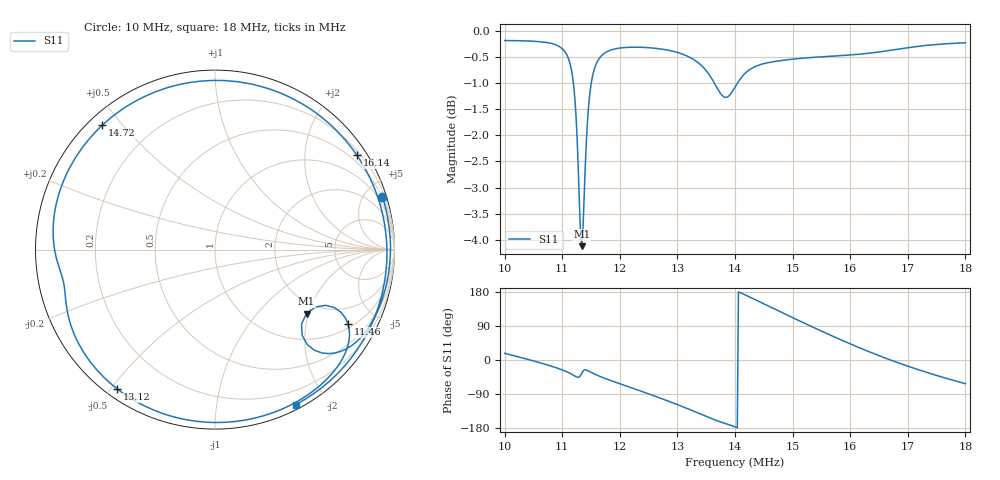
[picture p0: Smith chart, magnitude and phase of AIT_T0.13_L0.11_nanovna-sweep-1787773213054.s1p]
! S11 from AIT_T0.13_L0.11_nanovna-sweep-1787773213054.txt, converted by the rf-network-modeller history importer
# HZ S RI R 50
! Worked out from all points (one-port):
!   401 points, 10 MHz to 18 MHz, reference 50 ohm
!   lowest |S11| = -4.1 dB at 11.34 MHz (marker M1), VSWR 4.29, Z = 83.4 - j97 ohm
!   |S11| at or under -10 dB: nowhere
!   S11 on the Smith chart (normalised r, x): 10 MHz: 0.46, +6.44; 11.46 MHz: 1.17, -3.47; 13.12 MHz: 0.03, -0.52; 14.72 MHz: 0.04, +0.44; 16.14 MHz: 0.31, +3.29; 18 MHz: 0.05, -1.65
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1e7  0.9332 0.2953
1.056e7  0.9731 -0.0837
1.1e7  0.8632 -0.4229
1.112e7  0.7771 -0.5226
1.122e7  0.6364 -0.5797
1.13e7  0.4851 -0.4768
1.134e7  0.5098 -0.3565
1.14e7  0.6661 -0.3236
1.146e7  0.7412 -0.4147
1.168e7  0.6711 -0.6673
1.2e7  0.443 -0.8547
1.252e7  -0.00772 -0.9632
1.3e7  -0.444 -0.8436
1.312e7  -0.5434 -0.7772
1.352e7  -0.7909 -0.4557
1.4e7  -0.8813 -0.0572
1.434e7  -0.868 0.316
1.472e7  -0.6274 0.6933
1.5e7  -0.3486 0.8721
1.524e7  -0.0751 0.939
1.548e7  0.202 0.9223
1.572e7  0.4564 0.8283
1.6e7  0.699 0.6404
1.614e7  0.7911 0.525
1.656e7  0.9462 0.1329
1.7e7  0.9247 -0.2699
1.75e7  0.7348 -0.6336
1.8e7  0.4503 -0.8634
